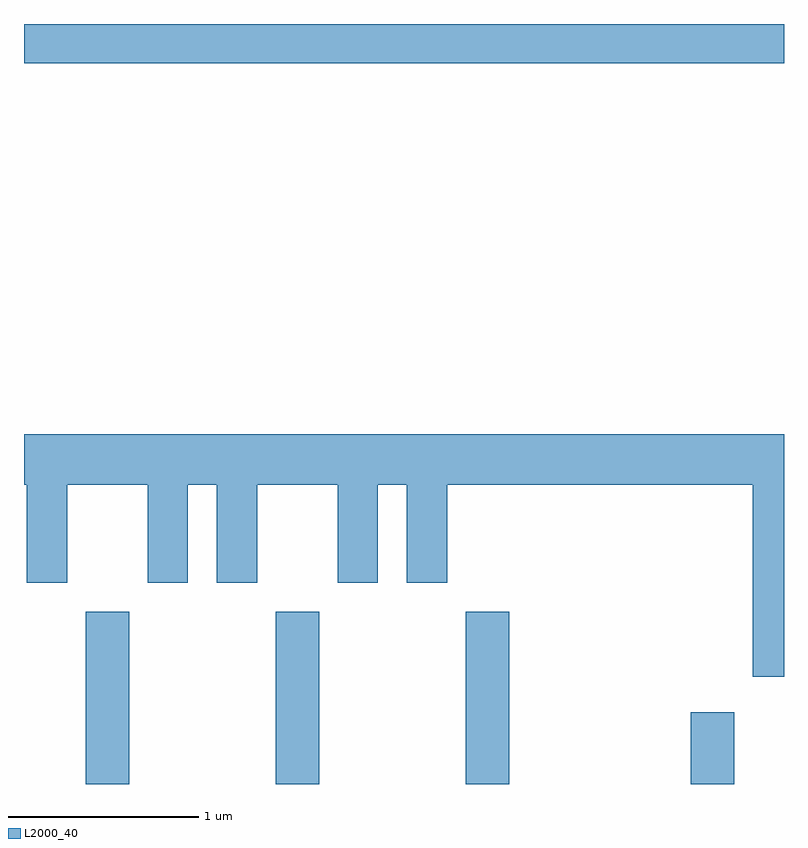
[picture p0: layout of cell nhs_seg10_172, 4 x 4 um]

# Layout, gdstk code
import gdstk
lib = gdstk.Library(unit=1e-6, precision=1e-09)
def R(c, l, rs):  # rectangles x0, y0, x1, y1
    for r in rs: c.add(gdstk.rectangle(r[:2], r[2:], *l))
def A(c, l, x, y, w, h, nx, ny, dx, dy):  # array of equal rectangles
    R(c, l, [(x+i*dx, y+j*dy, x+i*dx+w, y+j*dy+h) for i in range(nx) for j in range(ny)])
def P(c, l, *ps):  # polygons
    for p in ps: c.add(gdstk.Polygon(p, *l))
L2000_40 = (2000, 40)

nhs_seg10_172 = lib.new_cell('nhs_seg10_172')
A(nhs_seg10_172, L2000_40, 189.936, 2154.522, 0.228, 0.907, 3, 1, 1, 0)
R(nhs_seg10_172, L2000_40, [(193.121,2154.522,193.349,2154.899), (189.611,2158.316,193.611,2158.522)])
P(nhs_seg10_172, L2000_40, [(193.611,2156.364),(189.611,2156.364),(189.611,2156.096),(189.626,2156.096),(189.626,2155.581),(189.839,2155.581),(189.839,2156.096),(190.261,2156.096),(190.261,2155.581),(190.474,2155.581),(190.474,2156.096),(190.626,2156.096),(190.626,2155.581),(190.839,2155.581),(190.839,2156.096),(191.261,2156.096),(191.261,2155.581),(191.474,2155.581),(191.474,2156.096),(191.626,2156.096),(191.626,2155.581),(191.839,2155.581),(191.839,2156.096),(193.446,2156.096),(193.446,2155.086),(193.611,2155.086)])

lib.write_gds('nhs_seg10_172.gds')
